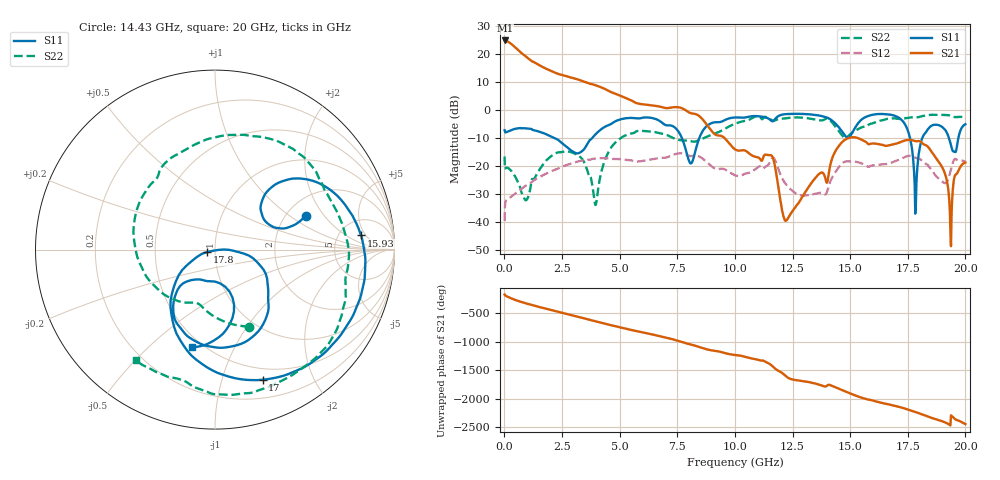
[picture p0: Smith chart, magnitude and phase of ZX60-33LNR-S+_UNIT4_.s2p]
!Mini-Circuits Laboratory
!S-Parameters
!Model: ZX60-33LNR-S+
!Run / Lot / Date Code: E181103 / N/A / N/A
!Fixture: N/A, Pressing Arm: N/A
!Network Analyzer: PNA-X N5242A - 423 4 ports;  Serial number: 74302
!Date: 11/9/2018 at 2:35:35 PM
!S/N: Unit# 4
!Volage and Current limited to 5V and 150mA
# Hz  S  dB  R  50
!Frequency  S11 dB  S11 Deg  S21 dB  S21 Deg  S12 dB  S12 Deg  S22 dB  S22 Deg
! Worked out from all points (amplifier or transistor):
!   879 points, 10 MHz to 20 GHz, reference 50 ohm
!   highest |S21| = 24.9 dB at 20 MHz (marker M1)
!   |S21| within 3 dB of that: start of sweep to 540.3 MHz
!   unconditionally stable (mu >= 1): start of sweep to end of sweep
!   at 1.7 GHz: K = 1.21, MAG = 16.4 dB, |S12| = -23.2 dB
!   at 9.025 GHz: K = 7.26, MAG = -5.3 dB, |S12| = -20.3 dB
!   at 20 GHz: K = 10.33, MAG = -13.3 dB, |S12| = -18.4 dB
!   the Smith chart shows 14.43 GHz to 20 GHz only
!   S11 on the Smith chart (normalised r, x): 14.43 GHz: 2.53, +1.35; 15.93 GHz: 8.13, +3.86; 17 GHz: 0.38, -1.36; 17.8 GHz: 0.91, -0.02; 20 GHz: 0.44, -0.70
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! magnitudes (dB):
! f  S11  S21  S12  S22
! 10 MHz  -7.2  24.8  -39.6  -16.6
! 20 MHz  -7.6  24.9  -35.3  -20.3
! 925 MHz  -6.5  19.2  -27.0  -32.2
! 2.05 GHz  -9.5  13.9  -21.8  -16.3
! 3.35 GHz  -14.8  10.5  -18.1  -17.2
! 3.95 GHz  -8.7  8.9  -17.3  -33.9
! 4.775 GHz  -4.2  6.0  -17.5  -11.9
! 6.675 GHz  -3.6  1.4  -17.2  -8.1
! 8.1 GHz  -19.1  -1.1  -16.4  -11.2
! 10.03 GHz  -2.6  -14.1  -23.3  -4.8
! 11.6 GHz  -3.9  -16.3  -17.4  -3.6
! 12.2 GHz  -1.5  -39.6  -26.4  -2.9
! 13.35 GHz  -1.6  -25.8  -30.2  -3.2
! 14.43 GHz  -5.4  -13.8  -21.4  -6.6
! 15.93 GHz  -1.7  -12.0  -19.9  -4.9
! 16.68 GHz  -1.5  -12.6  -19.1  -3.1
! 17 GHz  -2.3  -12.0  -18.1  -3.1
! 17.52 GHz  -7.9  -10.6  -16.4  -2.8
! 17.8 GHz  -26.7  -11.0  -16.9  -2.5
! 18.45 GHz  -6.1  -13.9  -20.5  -1.7
! 19.35 GHz  -11.7  -43.3  -22.0  -2.0
! 20 GHz  -5.1  -18.7  -18.4  -2.4
